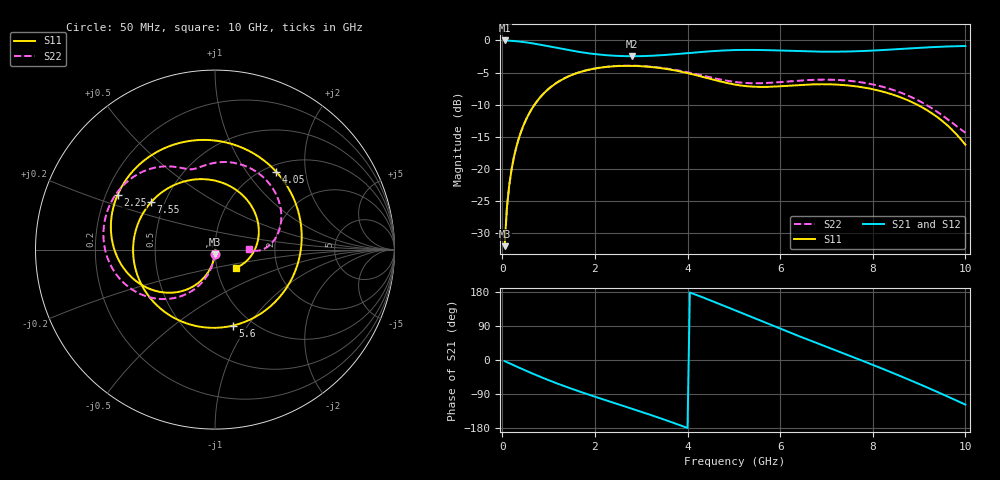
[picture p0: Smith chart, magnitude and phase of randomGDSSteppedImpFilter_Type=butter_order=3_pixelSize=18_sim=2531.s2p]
! freq	dB(S11)	phase(S11)	dB(S12)	phase(S12)
!  dB(S21)	phase(S21)	dB(S22)	phase(S22)
!S-par simulation data
#  GHz  S  DB  R 50
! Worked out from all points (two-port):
!   200 points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, 50 MHz to 10 GHz, reference 50 ohm
!   highest |S21| = -0.01 dB at 50 MHz (marker M1); lowest = -2.5 dB at 2.8 GHz (marker M2)
!   |S21| within 3 dB of the highest: start of sweep to end of sweep
!   lowest |S11| = -32.0 dB at 50 MHz (marker M3), VSWR 1.05, Z = 49.8 - j2.5 ohm
!   |S11| at or under -10 dB: start of sweep to 695.8 MHz; 8.962 GHz to end of sweep
!   |S22| runs from -32.0 to -3.9 dB; largest |S21 - S12| = 0
!   S11 on the Smith chart (normalised r, x): 50 MHz: 1.00, -0.05; 2.25 GHz: 0.25, +0.25; 4.05 GHz: 1.12, +1.40; 5.6 GHz: 0.82, -0.86; 7.55 GHz: 0.42, +0.28; 10 GHz: 1.23, -0.26
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0.05  -31.99 -93.2  -0.01 -2.9  -0.01 -2.9  -31.98 -92.8
0.1  -26.00 -96.4  -0.02 -5.7  -0.02 -5.7  -25.99 -95.6
0.2  -20.07 -102.7  -0.06 -11.3  -0.06 -11.3  -20.06 -101.0
0.5  -12.51 -120.4  -0.29 -27.7  -0.29 -27.7  -12.51 -116.1
1.05  -7.24 -150.7  -0.98 -55.6  -0.98 -55.6  -7.23 -141.5
1.75  -4.77 174.4  -1.89 -86.6  -1.89 -86.6  -4.76 -168.8
2.25  -4.12 150.8  -2.30 -106.9  -2.30 -106.9  -4.10 174.4
2.8  -3.96 124.2  -2.46 -128.7  -2.46 -128.7  -3.92 157.6
3.4  -4.29 92.3  -2.32 -153.1  -2.32 -153.1  -4.22 140.8
4.05  -5.17 51.7  -1.94 178.3  -1.94 178.3  -5.02 125.0
4.55  -6.09 14.3  -1.66 154.6  -1.66 154.6  -5.83 115.6
5.05  -6.90 -28.1  -1.49 129.9  -1.49 129.9  -6.48 109.0
5.6  -7.23 -76.7  -1.49 102.4  -1.49 102.4  -6.65 102.4
6.1  -7.08 -117.9  -1.60 77.8  -1.60 77.8  -6.42 94.0
6.7  -6.84 -161.6  -1.73 49.0  -1.73 49.0  -6.13 80.0
7.1  -6.83 171.9  -1.75 30.1  -1.75 30.1  -6.11 68.7
7.55  -7.06 143.3  -1.71 8.8  -1.71 8.8  -6.32 54.9
8.35  -8.23 92.2  -1.44 -30.0  -1.44 -30.0  -7.49 29.1
8.8  -9.44 61.6  -1.24 -52.9  -1.24 -52.9  -8.70 15.4
9.25  -11.20 28.3  -1.06 -76.5  -1.06 -76.5  -10.43 4.0
9.65  -13.46 -5.3  -0.93 -98.2  -0.93 -98.2  -12.44 -1.5
10  -16.22 -41.1  -0.87 -117.7  -0.87 -117.7  -14.35 0.6
